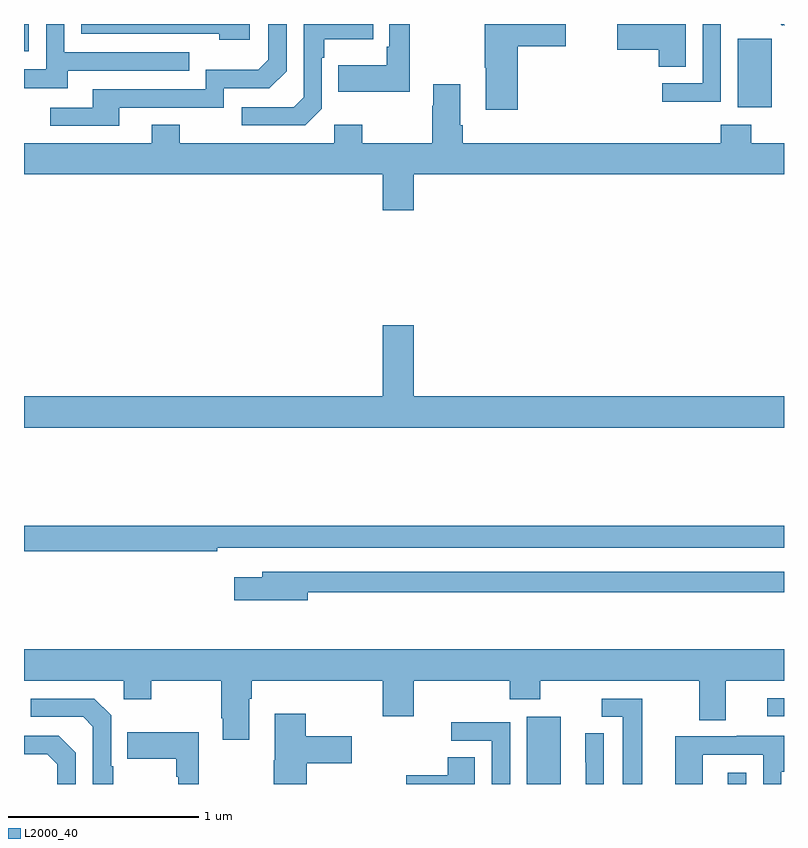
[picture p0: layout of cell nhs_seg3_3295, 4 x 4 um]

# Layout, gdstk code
import gdstk
lib = gdstk.Library(unit=1e-6, precision=1e-09)
def R(c, l, rs):  # rectangles x0, y0, x1, y1
    for r in rs: c.add(gdstk.rectangle(r[:2], r[2:], *l))
def P(c, l, *ps):  # polygons
    for p in ps: c.add(gdstk.Polygon(p, *l))
L2000_40 = (2000, 40)

nhs_seg3_3295 = lib.new_cell('nhs_seg3_3295')
R(nhs_seg3_3295, L2000_40, [(285.647,672.4,285.826,672.754), (286.703,672.4,286.8,672.46), (286.911,672.756,287,672.852), (286.757,675.962,286.936,676.323), (283,676.257,283.026,676.4)])
P(nhs_seg3_3295, L2000_40, [(283.501,675.96),(284.052,675.96),(284.052,676.062),(284.292,676.062),(284.382,676.152),(284.382,676.4),(284.286,676.4),(284.286,676.212),(284.233,676.159),(283.956,676.159),(283.956,676.056),(283.361,676.056),(283.361,675.96),(283.137,675.96),(283.137,675.864),(283.501,675.864)],
  [(283.231,676.155),(283.871,676.155),(283.871,676.251),(283.212,676.251),(283.212,676.4),(283.116,676.4),(283.116,676.161),(283,676.161),(283,676.061),(283.231,676.061)],
  [(285.599,676.283),(285.85,676.283),(285.85,676.4),(285.424,676.4),(285.424,676.171),(285.431,676.171),(285.431,675.948),(285.599,675.948)],
  [(286.483,676.4),(286.122,676.4),(286.122,676.265),(286.34,676.265),(286.34,676.174),(286.483,676.174)],
  [(285.031,676.4),(284.922,676.4),(284.922,676.279),(284.91,676.279),(284.91,676.183),(284.653,676.183),(284.653,676.043),(285.031,676.043)],
  [(287,676.4),(286.984,676.4),(286.992,676.392),(286.995,676.395),(287,676.39)],
  [(286.668,676.4),(286.572,676.4),(286.572,676.089),(286.359,676.089),(286.359,675.991),(286.668,675.991)],
  [(284.568,675.954),(284.568,676.223),(284.581,676.223),(284.581,676.319),(284.837,676.319),(284.837,676.4),(284.472,676.4),(284.472,676.014),(284.421,675.963),(284.145,675.963),(284.145,675.867),(284.481,675.867)],
  [(284.188,676.4),(283.302,676.4),(283.302,676.35),(284.027,676.35),(284.027,676.316),(284.188,676.316)],
  [(284.781,675.871),(284.634,675.871),(284.634,675.772),(283.821,675.772),(283.821,675.871),(283.673,675.871),(283.673,675.772),(283,675.772),(283,675.608),(284.888,675.608),(284.888,675.42),(285.052,675.42),(285.052,675.608),(287,675.608),(287,675.772),(286.827,675.772),(286.827,675.871),(286.667,675.871),(286.667,675.772),(285.308,675.772),(285.308,675.868),(285.295,675.868),(285.295,676.084),(285.155,676.084),(285.155,675.971),(285.148,675.971),(285.148,675.772),(284.781,675.772)],
  [(287,674.44),(285.052,674.44),(285.052,674.815),(284.888,674.815),(284.888,674.44),(283,674.44),(283,674.276),(287,674.276)],
  [(284.018,673.644),(287,673.644),(287,673.76),(283,673.76),(283,673.624),(284.018,673.624)],
  [(284.494,673.41),(287,673.41),(287,673.518),(284.255,673.518),(284.255,673.489),(284.106,673.489),(284.106,673.367),(284.494,673.367)],
  [(283,672.944),(283.524,672.944),(283.524,672.845),(283.671,672.845),(283.671,672.944),(284.038,672.944),(284.038,672.745),(284.045,672.745),(284.045,672.633),(284.185,672.633),(284.185,672.848),(284.198,672.848),(284.198,672.944),(284.888,672.944),(284.888,672.756),(285.052,672.756),(285.052,672.944),(285.557,672.944),(285.557,672.845),(285.717,672.845),(285.717,672.944),(286.553,672.944),(286.553,672.736),(286.693,672.736),(286.693,672.944),(287,672.944),(287,673.108),(283,673.108)],
  [(283.471,672.493),(283.458,672.493),(283.458,672.762),(283.371,672.849),(283.035,672.849),(283.035,672.753),(283.311,672.753),(283.362,672.702),(283.362,672.4),(283.471,672.4)],
  [(286.255,672.849),(286.041,672.849),(286.041,672.753),(286.151,672.753),(286.151,672.4),(286.255,672.4)],
  [(284.489,672.509),(284.725,672.509),(284.725,672.651),(284.484,672.651),(284.484,672.769),(284.321,672.769),(284.321,672.525),(284.314,672.525),(284.314,672.4),(284.489,672.4)],
  [(285.558,672.726),(285.249,672.726),(285.249,672.627),(285.462,672.627),(285.462,672.4),(285.558,672.4)],
  [(283.921,672.673),(283.543,672.673),(283.543,672.533),(283.8,672.533),(283.8,672.437),(283.812,672.437),(283.812,672.4),(283.921,672.4)],
  [(286.05,672.668),(285.954,672.668),(285.954,672.514),(285.956,672.514),(285.956,672.4),(286.05,672.4)],
  [(286.572,672.555),(286.89,672.555),(286.89,672.4),(286.986,672.4),(286.986,672.465),(287,672.465),(287,672.655),(286.751,672.655),(286.751,672.651),(286.427,672.651),(286.427,672.4),(286.572,672.4)],
  [(283.272,672.564),(283.182,672.654),(283,672.654),(283,672.557),(283.123,672.557),(283.176,672.504),(283.176,672.4),(283.272,672.4)],
  [(285.373,672.542),(285.23,672.542),(285.23,672.447),(285.012,672.447),(285.012,672.4),(285.373,672.4)])

lib.write_gds('nhs_seg3_3295.gds')
